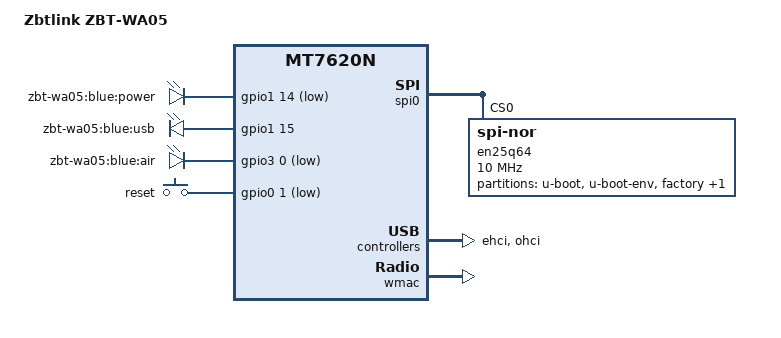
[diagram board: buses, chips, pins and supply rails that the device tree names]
/dts-v1/;

#include "mt7620n.dtsi"

/ {
	compatible = "zbtlink,zbt-wa05", "ralink,mt7620n-soc";
	model = "Zbtlink ZBT-WA05";

	chosen {
		bootargs = "console=ttyS0,115200";
	};

	gpio-leds {
		compatible = "gpio-leds";

		power {
			label = "zbt-wa05:blue:power";
			gpios = <&gpio1 14 1>;
		};

		usb {
			label = "zbt-wa05:blue:usb";
			gpios = <&gpio1 15 0>;
		};

		air {
			label = "zbt-wa05:blue:air";
			gpios = <&gpio3 0 1>;
		};
	};

	gpio-keys-polled {
		compatible = "gpio-keys-polled";
		#address-cells = <1>;
		#size-cells = <0>;
		poll-interval = <20>;

		reset {
			label = "reset";
			gpios = <&gpio0 1 1>;
			linux,code = <0x198>;
		};
	};
};

&gpio1 {
	status = "okay";
};

&gpio2 {
	status = "okay";
};

&gpio3 {
	status = "okay";
};

&spi0 {
	status = "okay";

	en25q64@0 {
		#address-cells = <1>;
		#size-cells = <1>;
		compatible = "jedec,spi-nor";
		reg = <0>;
		linux,modalias = "m25p80";
		spi-max-frequency = <10000000>;

		partition@0 {
			label = "u-boot";
			reg = <0x0 0x30000>;
			read-only;
		};

		partition@30000 {
			label = "u-boot-env";
			reg = <0x30000 0x10000>;
			read-only;
		};

		factory: partition@40000 {
			label = "factory";
			reg = <0x40000 0x10000>;
			read-only;
		};

		partition@50000 {
			label = "firmware";
			reg = <0x50000 0x760000>;
		};
	};
};

&ehci {
	status = "okay";
};

&ohci {
	status = "okay";
};

&ethernet {
	mtd-mac-address = <&factory 0x4>;
	mediatek,portmap = "wllll";
};

&wmac {
	ralink,mtd-eeprom = <&factory 0>;
};

&pinctrl {
	state_default: pinctrl0 {
		default {
			ralink,group = "i2c", "spi refclk", "wled";
			ralink,function = "gpio";
		};
	};
};
